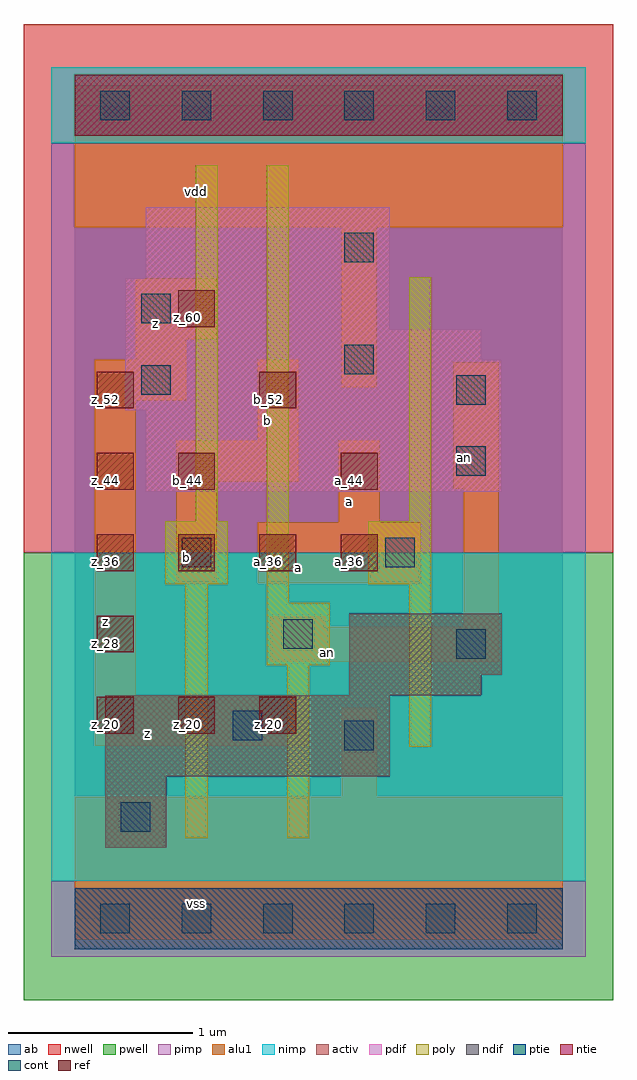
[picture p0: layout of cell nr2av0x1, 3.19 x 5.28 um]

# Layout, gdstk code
import gdstk
lib = gdstk.Library(unit=1e-6, precision=2.5e-09)
def R(c, l, rs):  # rectangles x0, y0, x1, y1
    for r in rs: c.add(gdstk.rectangle(r[:2], r[2:], *l))
def A(c, l, x, y, w, h, nx, ny, dx, dy):  # array of equal rectangles
    R(c, l, [(x+i*dx, y+j*dy, x+i*dx+w, y+j*dy+h) for i in range(nx) for j in range(ny)])
ndif = (3, 0)
pdif = (4, 0)
ntie = (5, 0)
ptie = (6, 0)
ref = (24, 0)
cont = (25, 0)
pwell = (41, 0)
nwell = (42, 0)
activ = (43, 0)
pimp = (44, 0)
nimp = (45, 0)
poly = (46, 0)
alu1 = (49, 0)
ab = (63, 0)

nr2av0x1 = lib.new_cell('nr2av0x1')
R(nr2av0x1, ndif, [(0.165,0.385,0.495,0.77), (0.165,0.77,1.705,1.21), (1.485,1.21,2.2,1.32), (1.485,1.32,2.31,1.65)])
R(nr2av0x1, pdif, [(0.385,2.31,2.31,2.75), (0.275,2.75,2.31,3.025), (0.275,3.025,2.2,3.19), (0.275,3.19,1.705,3.465), (0.385,3.465,1.705,3.85)])
R(nr2av0x1, ntie, [(0,4.235,2.64,4.565)])
R(nr2av0x1, ptie, [(0,-0.165,2.64,0.165)])
A(nr2av0x1, ref, 0.12, 1, 0.2, 0.2, 3, 1, 0.44, 0)
A(nr2av0x1, ref, 0.12, 1.88, 0.2, 0.2, 4, 1, 0.44, 0)
R(nr2av0x1, ref, [(0.12,1.44,0.32,1.64), (0.12,2.32,0.32,2.52), (0.56,2.32,0.76,2.52), (1.44,2.32,1.64,2.52), (0.12,2.76,0.32,2.96), (1,2.76,1.2,2.96), (0.56,3.2,0.76,3.4)])
A(nr2av0x1, cont, 0.14, -0.08, 0.16, 0.16, 6, 2, 0.44, 4.4)
R(nr2av0x1, cont, [(0.25,0.47,0.41,0.63), (1.46,0.91,1.62,1.07), (0.855,0.965,1.015,1.125), (2.065,1.405,2.225,1.565), (1.13,1.46,1.29,1.62), (0.58,1.9,0.74,2.06), (1.68,1.9,1.84,2.06), (2.065,2.395,2.225,2.555), (2.065,2.78,2.225,2.94), (0.36,2.835,0.52,2.995), (1.46,2.945,1.62,3.105), (0.36,3.22,0.52,3.38), (1.46,3.55,1.62,3.71)])
R(nr2av0x1, pwell, [(-0.275,-0.44,2.915,1.98)])
R(nr2av0x1, nwell, [(-0.275,1.98,2.915,4.84)])
R(nr2av0x1, activ, [(0,-0.165,2.64,0.165), (0.165,0.385,0.495,0.77), (0.165,0.77,1.705,1.21), (1.485,1.21,2.2,1.32), (1.485,1.32,2.31,1.65), (0.385,2.31,2.31,2.75), (0.275,2.75,2.31,3.025), (0.275,3.025,2.2,3.19), (0.275,3.19,1.705,3.465), (0.385,3.465,1.705,3.85), (0,4.235,2.64,4.565)])
R(nr2av0x1, pimp, [(-0.125,-0.205,2.765,0.205), (-0.125,1.98,2.765,4.195)])
R(nr2av0x1, nimp, [(-0.125,0.205,2.765,1.98), (-0.125,4.195,2.765,4.605)])
R(nr2av0x1, poly, [(0.6,0.435,0.72,1.81), (1.15,0.435,1.27,1.37), (1.81,0.93,1.93,1.81), (1.04,1.37,1.38,1.71), (1.04,1.71,1.16,4.075), (0.49,1.81,0.83,2.15), (1.59,1.81,1.93,2.15), (0.655,2.15,0.775,4.075), (1.81,2.15,1.93,3.47)])
R(nr2av0x1, alu1, [(0,-0.11,2.64,0.66), (1.445,0.66,1.635,1.14), (0.11,0.935,1.265,1.21), (0.11,1.21,0.33,2.805), (1.06,1.39,2.295,1.58), (1.06,1.58,1.36,1.635), (2.105,1.58,2.295,2.325), (0.55,1.815,0.77,2.365), (0.99,1.815,1.87,2.145), (1.43,2.145,1.65,2.585), (2.05,2.325,2.295,3.01), (0.55,2.365,1.21,2.585), (0.99,2.585,1.21,3.025), (0.11,2.805,0.605,3.025), (1.445,2.875,1.635,3.74), (0.33,3.025,0.605,3.135), (0.33,3.135,0.77,3.465), (0,3.74,2.64,4.51)])
R(nr2av0x1, ab, [(0,0,2.64,4.4)])
nr2av0x1.add(gdstk.Label('vss', (0.66,0.0825), layer=49, texttype=0))
nr2av0x1.add(gdstk.Label('z', (0.3975,1.0025), layer=49, texttype=0))
nr2av0x1.add(gdstk.Label('an', (1.3675,1.4375), layer=49, texttype=0))
nr2av0x1.add(gdstk.Label('a', (1.21,1.8975), layer=49, texttype=0))
nr2av0x1.add(gdstk.Label('an', (2.11,2.495), layer=49, texttype=0))
nr2av0x1.add(gdstk.Label('a', (1.485,2.255), layer=49, texttype=0))
nr2av0x1.add(gdstk.Label('b', (0.605,1.9525), layer=49, texttype=0))
nr2av0x1.add(gdstk.Label('b', (1.045,2.695), layer=49, texttype=0))
nr2av0x1.add(gdstk.Label('z', (0.165,1.6075), layer=49, texttype=0))
nr2av0x1.add(gdstk.Label('z', (0.44,3.2175), layer=49, texttype=0))
nr2av0x1.add(gdstk.Label('vdd', (0.66,3.9325), layer=49, texttype=0))
nr2av0x1.add(gdstk.Label('z_20', (0.61,1.05), layer=24, texttype=0))
nr2av0x1.add(gdstk.Label('b_36', (0.61,1.93), layer=24, texttype=0))
nr2av0x1.add(gdstk.Label('b_44', (0.61,2.37), layer=24, texttype=0))
nr2av0x1.add(gdstk.Label('z_60', (0.61,3.25), layer=24, texttype=0))
nr2av0x1.add(gdstk.Label('z_20', (1.05,1.05), layer=24, texttype=0))
nr2av0x1.add(gdstk.Label('a_36', (1.05,1.93), layer=24, texttype=0))
nr2av0x1.add(gdstk.Label('b_52', (1.05,2.81), layer=24, texttype=0))
nr2av0x1.add(gdstk.Label('a_36', (1.49,1.93), layer=24, texttype=0))
nr2av0x1.add(gdstk.Label('a_44', (1.49,2.37), layer=24, texttype=0))
nr2av0x1.add(gdstk.Label('z_20', (0.17,1.05), layer=24, texttype=0))
nr2av0x1.add(gdstk.Label('z_28', (0.17,1.49), layer=24, texttype=0))
nr2av0x1.add(gdstk.Label('z_36', (0.17,1.93), layer=24, texttype=0))
nr2av0x1.add(gdstk.Label('z_44', (0.17,2.37), layer=24, texttype=0))
nr2av0x1.add(gdstk.Label('z_52', (0.17,2.81), layer=24, texttype=0))

lib.write_gds('nr2av0x1.gds')
